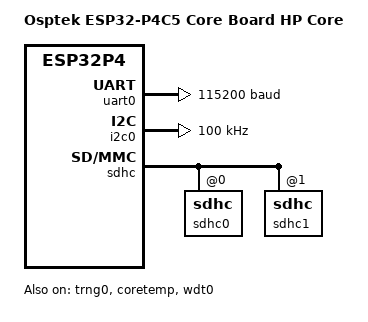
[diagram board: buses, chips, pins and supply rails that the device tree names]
/*
 * Copyright (c) 2026 Tessera Project
 *
 * SPDX-License-Identifier: Apache-2.0
 *
 * Osptek ESP32-P4C5 Core Board (HP core) — ESP32-P4 + ESP32-C5 companion.
 * Adapted from in-tree waveshare/esp32p4_wifi6_dev_kit (same P4 SoC family).
 * Board facts (osptek docs + esptool probe 2026-10-30): 16MB NOR flash,
 * 32MB embedded PSRAM, CH343 USB-UART bridge on UART0 (GPIO37/38),
 * ESP32-P4 rev v3.2. No on-board LED/buttons (88-pin stamp core board).
 * C5 companion wiring (c5-p4-connection.png, row-aligned + esp-hosted
 * slot convention cross-check with waveshare C6 board): SDIO pads
 * P4 GPIO14/15/16/17/18/19 = D0/D1/D2/D3/CLK/CMD, reset P4 GPIO54 ->
 * C5 CHIP_PU (= &gpio1 22 in the gpio1 controller 32-base numbering,
 * same companion-reset convention as the waveshare C6 reference),
 * handshake P4 GPIO6 <-> C5 GPIO2 (not modeled by the current
 * esp_hosted_mcu binding). Enabled: C5 runs an esp-hosted 3.x slave
 * firmware (owner-confirmed 2026-10-30) matching the driver contract.
 * Bring-up 2026-10-30: RPC handshake PASS (coprocessor firmware
 * v3.0.10 reported over SDIO); wifi scan data plane FAILS at the
 * slave (mgmt-level "Scan request failed", no driver-side error) —
 * open item, candidate causes: slave-side scan preconditions,
 * regulatory domain, unmodeled handshake IO; needs C5 UART logs
 * (pins 4/5, not wired to CH343) or a C6-board A/B comparison.
 */

/dts-v1/;

#include <espressif/esp32p4/esp32p4_rev3.dtsi>
#include "esp32p4c5_core_board_esp32p4_hpcore-pinctrl.dtsi"
#include <espressif/partitions_0x2000_default_16M.dtsi>

/ {
	model = "Osptek ESP32-P4C5 Core Board HP Core";
	compatible = "osptek,esp32p4c5-core-board";

	chosen {
		zephyr,sram = &sramhp;
		zephyr,console = &uart0;
		zephyr,shell-uart = &uart0;
		zephyr,flash = &flash0;
		zephyr,code-partition = &slot0_partition;
		zephyr,bt-hci = &esp_hosted_mcu_hci;
	};

	aliases {
		watchdog0 = &wdt0;
	};
};

&flash0 {
	reg = <0x0 DT_SIZE_M(16)>;
	ranges = <0x0 0x0 DT_SIZE_M(16)>;
};

&psram0 {
	size = <DT_SIZE_M(32)>;
};

/* v3.x silicon: valid CPU frequencies are 100/200/400 MHz */
&cpu0 {
	clock-frequency = <DT_FREQ_M(400)>;
};

&cpu1 {
	clock-frequency = <DT_FREQ_M(400)>;
};

&uart0 {
	status = "okay";
	current-speed = <115200>;
	pinctrl-0 = <&uart0_default>;
	pinctrl-names = "default";
};

&i2c0 {
	status = "okay";
	clock-frequency = <I2C_BITRATE_STANDARD>;
	pinctrl-0 = <&i2c0_default>;
	pinctrl-names = "default";
	/* Dev-board ES8311 codec on this bus (expect 0x18) — I2S0 pad map
	 * pending vendor confirmation (schematic text layer has the I2S0_*
	 * nets but not their GPIO mapping). */
};

&trng0 {
	status = "okay";
};

&coretemp {
	status = "okay";
};

&gpio0 {
	status = "okay";
};

&gpio1 {
	status = "okay";
};

&wdt0 {
	status = "okay";
};

&dma {
	status = "okay";
};

&dma_axi {
	status = "okay";
};

&sdhc {
	sdhc0: sdhc@0 {
		status = "okay";
		/* Dev-board TF slot (schematic text layer): CLK=GPIO44,
		 * CMD=GPIO43, D3..D0=GPIO42..39. SD_DET net exists but its P4
		 * GPIO is unmapped in the text layer — polled detection. */
		bus-width = <4>;
		max-bus-freq = <DT_FREQ_M(40)>;
		clk-pin = <44>;
		cmd-pin = <43>;
		d0-pin = <39>;
		d1-pin = <40>;
		d2-pin = <41>;
		d3-pin = <42>;

		mmc {
			compatible = "zephyr,sdmmc-disk";
			disk-name = "SD";
			status = "okay";
		};
	};

	sdhc1: sdhc@1 {
		status = "okay";
		/* ESP32-C5 companion (c5-p4-connection.png): C5 slave firmware
		 * = esp-hosted 3.x (owner-confirmed 2026-10-30, matches the
		 * driver's major-3 contract).
		 * Handshake IO: P4 GPIO6 <-> C5 GPIO2 (not modeled by the
		 * current esp_hosted_mcu binding). */
		bus-width = <4>;
		max-bus-freq = <DT_FREQ_M(40)>;
		clk-pin = <18>;
		cmd-pin = <19>;
		d0-pin = <14>;
		d1-pin = <15>;
		d2-pin = <16>;
		d3-pin = <17>;
		#address-cells = <1>;
		#size-cells = <0>;

		esp_hosted_mcu: esp-hosted-mcu@0 {
			compatible = "espressif,esp-hosted-mcu";
			reg = <0>;
			reset-gpios = <&gpio1 22 GPIO_ACTIVE_HIGH>;
			status = "okay";

			esp_hosted_mcu_wifi: wifi {
				compatible = "espressif,esp-hosted-mcu-wifi";
				status = "okay";
			};

			esp_hosted_mcu_hci: bt-hci {
				compatible = "espressif,esp-hosted-mcu-bt-hci";
				status = "okay";
			};
		};
	};
};

&usb_serial {
	status = "disabled";
};

&i2s0 {
	/* Audio face (dev-board schematic text layer, spatially aligned):
	 * MCLK=GPIO21, BCLK=GPIO20, WS(LRCK)=GPIO12, DO(DSDIN)=GPIO11,
	 * DI(ASDOUT)=GPIO13; ES8311 @ i2c0 0x18 (probed online), NS4150 PA
	 * ctrl = GPIO53. Held disabled: the in-tree i2s_esp32 P4 path has
	 * zero in-tree users and its GDMA wiring needs upstream-level work
	 * (v4.5.0 esp32-gdma driver is M2M-oriented); bring-up app + facts
	 * archived 2026-10-30. */
	status = "disabled";
	pinctrl-0 = <&i2s0_default>;
	pinctrl-names = "default";
	dmas = <&dma 0>, <&dma 1>;
	dma-names = "rx", "tx";
};
